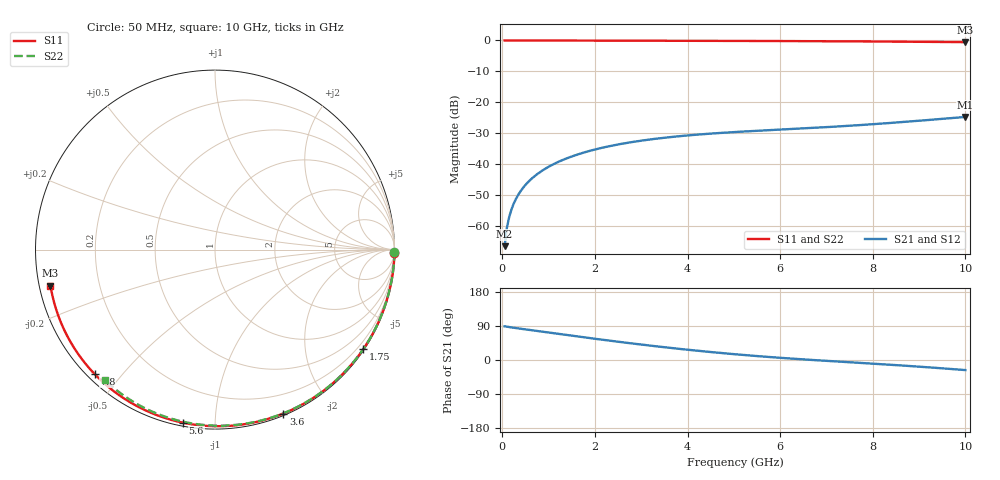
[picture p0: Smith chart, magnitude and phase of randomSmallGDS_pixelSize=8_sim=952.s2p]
! freq	dB(S11)	phase(S11)	dB(S12)	phase(S12)
!  dB(S21)	phase(S21)	dB(S22)	phase(S22)
!S-par simulation data
#  GHz  S  DB  R 50
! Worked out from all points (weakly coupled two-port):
!   200 points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, 50 MHz to 10 GHz, reference 50 ohm
!   highest |S21| = -24.75 dB at 10 GHz (marker M1); lowest = -66.6 dB at 50 MHz (marker M2)
!   lowest |S11| = -0.6 dB at 10 GHz (marker M3), VSWR 31.48, Z = 1.61 - j5.42 ohm
!   |S11| at or under -10 dB: nowhere
!   |S22| runs from -0.4 to 0.0 dB; largest |S21 - S12| = 0
!   S11 on the Smith chart (normalised r, x): 50 MHz: open; 1.75 GHz: 0.03, -3.29; 3.6 GHz: 0.02, -1.50; 5.6 GHz: 0.02, -0.83; 7.8 GHz: 0.02, -0.42; 10 GHz: 0.03, -0.11
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0.05  -0.00 -1.0  -66.57 88.9  -66.57 88.9  -0.00 -0.8
0.1  -0.00 -2.0  -60.57 87.9  -60.57 87.9  -0.00 -1.5
0.15  -0.00 -3.0  -57.07 86.9  -57.07 86.9  -0.00 -2.3
0.2  -0.00 -3.9  -54.60 85.9  -54.60 85.9  -0.00 -3.1
0.25  -0.00 -4.9  -52.68 85.0  -52.68 85.0  -0.00 -3.8
0.35  -0.01 -6.9  -49.80 83.3  -49.80 83.3  -0.00 -5.3
0.5  -0.01 -9.8  -46.75 80.8  -46.75 80.8  -0.01 -7.6
0.7  -0.02 -13.7  -43.89 77.5  -43.89 77.5  -0.01 -10.6
1  -0.02 -19.5  -40.88 72.5  -40.88 72.5  -0.02 -15.1
1.35  -0.03 -26.2  -38.40 66.6  -38.40 66.6  -0.03 -20.4
1.75  -0.04 -33.8  -36.32 60.1  -36.32 60.1  -0.03 -26.3
2.6  -0.07 -49.6  -33.39 46.7  -33.39 46.7  -0.05 -38.6
3.4  -0.09 -63.9  -31.65 35.1  -31.65 35.1  -0.07 -49.9
3.6  -0.09 -67.4  -31.32 32.3  -31.32 32.3  -0.07 -52.7
4.3  -0.11 -79.3  -30.37 23.4  -30.37 23.4  -0.09 -62.2
5.05  -0.14 -91.7  -29.61 14.9  -29.61 14.9  -0.11 -72.1
5.6  -0.17 -100.5  -29.15 9.4  -29.15 9.4  -0.13 -79.1
6.7  -0.23 -117.5  -28.30 0.0  -28.30 0.0  -0.18 -92.7
7.8  -0.31 -134.1  -27.31 -8.1  -27.31 -8.1  -0.25 -105.6
8.35  -0.36 -142.3  -26.73 -12.3  -26.73 -12.3  -0.29 -111.9
9.2  -0.45 -155.2  -25.74 -19.3  -25.74 -19.3  -0.36 -121.4
10  -0.55 -167.6  -24.75 -26.6  -24.75 -26.6  -0.44 -130.2
